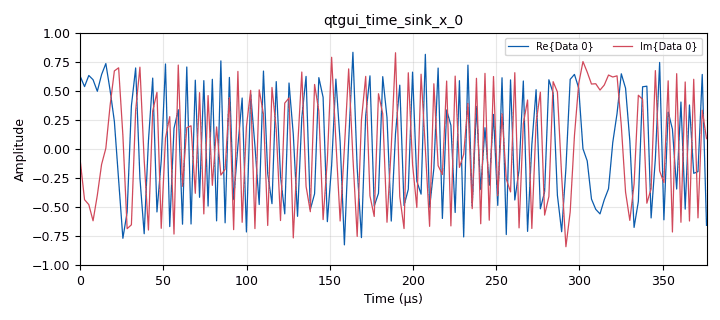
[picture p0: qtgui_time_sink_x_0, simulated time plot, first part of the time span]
<?xml version='1.0' encoding='utf-8'?>
<?grc format='1' created='3.7.9'?>
<flow_graph>
<block>
<key>options</key>
<param><key>id</key><value>top_block</value></param>
<param><key>generate_options</key><value>qt_gui</value></param>
<param><key>run</key><value>run_stop</value></param>
</block>
<block>
<key>variable</key>
<param><key>id</key><value>Ar</value></param>
<param><key>value</key><value>0.1</value></param>
</block>
<block>
<key>variable</key>
<param><key>id</key><value>B</value></param>
<param><key>value</key><value>220e3</value></param>
</block>
<block>
<key>variable</key>
<param><key>id</key><value>B_0</value></param>
<param><key>value</key><value>220e3</value></param>
</block>
<block>
<key>variable</key>
<param><key>id</key><value>DF</value></param>
<param><key>value</key><value>209e3</value></param>
</block>
<block>
<key>variable</key>
<param><key>id</key><value>Kf</value></param>
<param><key>value</key><value>DF/V_pmi</value></param>
</block>
<block>
<key>variable</key>
<param><key>id</key><value>V_pmi</value></param>
<param><key>value</key><value>1.</value></param>
</block>
<block>
<key>variable_qtgui_check_box</key>
<param><key>id</key><value>run_stop</value></param>
<param><key>value</key><value>True</value></param>
<param><key>false</key><value>False</value></param>
<param><key>gui_hint</key><value>0,0,1,1</value></param>
<param><key>label</key><value>Inicial/Parar</value></param>
<param><key>true</key><value>True</value></param>
<param><key>type</key><value>int</value></param>
</block>
<block>
<key>variable</key>
<param><key>id</key><value>samp_rate</value></param>
<param><key>value</key><value>390625</value></param>
</block>
<block>
<key>variable</key>
<param><key>id</key><value>samp_rate_audio</value></param>
<param><key>value</key><value>11e3</value></param>
</block>
<block>
<key>analog_noise_source_x</key>
<param><key>id</key><value>analog_noise_source_x_1</value></param>
<param><key>amp</key><value>Ar</value></param>
<param><key>noise_type</key><value>analog.GR_GAUSSIAN</value></param>
<param><key>type</key><value>complex</value></param>
<param><key>seed</key><value>0</value></param>
</block>
<block>
<key>analog_sig_source_x</key>
<param><key>id</key><value>analog_sig_source_x_0</value></param>
<param><key>amp</key><value>1</value></param>
<param><key>freq</key><value>1000</value></param>
<param><key>offset</key><value>0</value></param>
<param><key>type</key><value>float</value></param>
<param><key>samp_rate</key><value>samp_rate_audio</value></param>
<param><key>waveform</key><value>analog.GR_COS_WAVE</value></param>
</block>
<block>
<key>blocks_add_xx</key>
<param><key>id</key><value>blocks_add_xx_1</value></param>
<param><key>type</key><value>complex</value></param>
</block>
<block>
<key>blocks_multiply_const_vxx</key>
<param><key>id</key><value>blocks_multiply_const_vxx_0_0_0_1_0_0</value></param>
<param><key>const</key><value>2*math.pi*Kf/samp_rate_audio</value></param>
<param><key>type</key><value>float</value></param>
</block>
<block>
<key>epy_block</key>
<param><key>id</key><value>e_Accum_ff</value></param>
<param><key>_source_code</key><value>"""
Embedded Python Blocks:

Each time this file is saved, GRC will instantiate the first class it finds
to get ports and parameters of your block. The arguments to __init__  will
be the parameters. All of them are required to have default values!
"""

import numpy as np
from gnuradio import gr


class blk(gr.sync_block):  # other base classes are basic_block, decim_block, interp_block
    """Hecho por Homoero Ortega. Es un acumulador puro, va acumulando cada muestra entrante mientras entrega lo que lleva acumulado hasta el momento. Puede convertirse en un integrador si la salida se divide en la frecuencia de muestreo de la senal"""

    def __init__(self):  # only default arguments here
        gr.sync_block.__init__(
            self,
            name='e_Accum_ff',   # will show up in GRC
            in_sig=[np.float32],
            out_sig=[np.float32]
        )
	self.memory=0.
    def work(self, input_items, output_items):
        """El acumulador"""
	in0=input_items[0]
	out0=output_items[0]
        L=len(in0)
	out0[:]=(self.memory+np.cumsum(in0))
	self.memory=out0[L-1]
        return len(out0)
</value></param>
</block>
<block>
<key>epy_block</key>
<param><key>id</key><value>e_VCO_fase_fc_0</value></param>
<param><key>Ac</key><value>0.7</value></param>
<param><key>_source_code</key><value>"""
Embedded Python Blocks:

Each time this file is saved, GRC will instantiate the first class it finds
to get ports and parameters of your block. The arguments to __init__  will
be the parameters. All of them are required to have default values!
"""

import numpy as np
from gnuradio import gr


class blk(gr.sync_block):  
    """Done by Homero Ortega Boada"""

    def __init__(self, samp_rate=200000., Ac=1.):  # only default arguments here
        """arguments to this function show up as parameters in GRC"""
        gr.sync_block.__init__(
            self,
            name='e_VCO_frec_fc',   # will show up in GRC
            in_sig=[np.float32],
            out_sig=[np.complex64]
        )
        self.samp_rate = float(samp_rate)
        self.Ac = Ac
	self.last_t=0.

    def work(self, input_items, output_items):
	in0=input_items[0]
	out0=output_items[0]
        L=len(in0)
	t=np.arange(L)/self.samp_rate+self.last_t
	theta=2.*np.pi*in0*t
	out0[:] = self.Ac*np.exp(1.j*theta)
	self.last_t += L/self.samp_rate
	return len(out0)
</value></param>
<param><key>samp_rate</key><value>samp_rate</value></param>
</block>
<block>
<key>import</key>
<param><key>id</key><value>import_0</value></param>
<param><key>import</key><value>import math</value></param>
</block>
<block>
<key>qtgui_time_sink_x</key>
<param><key>id</key><value>qtgui_time_sink_x_0</value></param>
<param><key>color1</key><value>"blue"</value></param>
<param><key>label1</key><value></value></param>
<param><key>color2</key><value>"red"</value></param>
<param><key>label2</key><value></value></param>
<param><key>size</key><value>1024</value></param>
<param><key>srate</key><value>samp_rate</value></param>
<param><key>type</key><value>complex</value></param>
</block>
<block>
<key>rational_resampler_xxx</key>
<param><key>id</key><value>rational_resampler_xxx_0</value></param>
<param><key>decim</key><value>int(samp_rate_audio)</value></param>
<param><key>interp</key><value>samp_rate</value></param>
<param><key>taps</key><value></value></param>
<param><key>type</key><value>fff</value></param>
</block>
<block>
<key>virtual_sink</key>
<param><key>id</key><value>vs</value></param>
<param><key>stream_id</key><value>T1</value></param>
</block>
<block>
<key>virtual_source</key>
<param><key>id</key><value>vso</value></param>
<param><key>stream_id</key><value>T1</value></param>
</block>
<connection><source_block_id>analog_noise_source_x_1</source_block_id><sink_block_id>blocks_add_xx_1</sink_block_id><source_key>0</source_key><sink_key>1</sink_key></connection>
<connection><source_block_id>analog_sig_source_x_0</source_block_id><sink_block_id>e_Accum_ff</sink_block_id><source_key>0</source_key><sink_key>0</sink_key></connection>
<connection><source_block_id>blocks_add_xx_1</source_block_id><sink_block_id>vs</sink_block_id><source_key>0</source_key><sink_key>0</sink_key></connection>
<connection><source_block_id>blocks_multiply_const_vxx_0_0_0_1_0_0</source_block_id><sink_block_id>rational_resampler_xxx_0</sink_block_id><source_key>0</source_key><sink_key>0</sink_key></connection>
<connection><source_block_id>e_Accum_ff</source_block_id><sink_block_id>blocks_multiply_const_vxx_0_0_0_1_0_0</sink_block_id><source_key>0</source_key><sink_key>0</sink_key></connection>
<connection><source_block_id>e_VCO_fase_fc_0</source_block_id><sink_block_id>blocks_add_xx_1</sink_block_id><source_key>0</source_key><sink_key>0</sink_key></connection>
<connection><source_block_id>rational_resampler_xxx_0</source_block_id><sink_block_id>e_VCO_fase_fc_0</sink_block_id><source_key>0</source_key><sink_key>0</sink_key></connection>
<connection><source_block_id>vso</source_block_id><sink_block_id>qtgui_time_sink_x_0</sink_block_id><source_key>0</source_key><sink_key>0</sink_key></connection>
</flow_graph>
